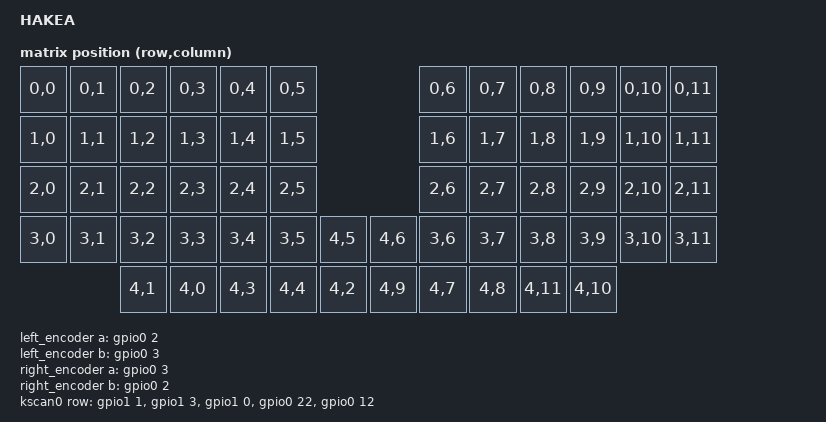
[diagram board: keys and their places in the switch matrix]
/*
 * Copyright (c) 2021 Thys de Wet (vattern)
 *
 * SPDX-License-Identifier: MIT
 */

#include <nordic/nrf52840_qiaa.dtsi>
#include <dt-bindings/zmk/matrix_transform.h>
#include "hakea_pinctrl.dtsi"
/ {
    model = "HAKEA";
    compatible = "hakea";

    chosen {
        zephyr,code-partition = &code_partition;
        zephyr,sram = &sram0;
        zephyr,flash = &flash0;
        zephyr,console = &cdc_acm_uart;
        zephyr,display = &oled;
        zmk,kscan = &kscan0;
        zmk,matrix_transform = &default_transform;

    };

    vbatt {
  		compatible = "zmk,battery-voltage-divider";
  		label = "BATTERY";
  		io-channels = <&adc 2>; // could be adc 1
  		output-ohms = <2000000>;
  		full-ohms = <(2000000 + 806000)>;
  	};

  	left_encoder: encoder_left {
        compatible = "alps,ec11";
        label = "LEFT_ENCODER";
        a-gpios = <&gpio0 2 (GPIO_ACTIVE_HIGH | GPIO_PULL_UP)>;
        b-gpios = <&gpio0 3 (GPIO_ACTIVE_HIGH | GPIO_PULL_UP)>;
        steps = <60>;
        status = "disabled";
    };

    right_encoder: encoder_right {
        compatible = "alps,ec11";
        label = "RIGHT_ENCODER";
        a-gpios = <&gpio0 3 (GPIO_ACTIVE_HIGH | GPIO_PULL_UP)>;
        b-gpios = <&gpio0 2 (GPIO_ACTIVE_HIGH | GPIO_PULL_UP)>;
        steps = <60>;
        status = "disabled";
    };

    sensors {
            compatible = "zmk,keymap-sensors";
            sensors = <&left_encoder &right_encoder>;
            triggers-per-rotation = <30>;
    };


    default_transform: keymap_transform_0 {
        compatible = "zmk,matrix-transform";
        columns = <12>;
        rows = <5>;
// | SW6  | SW5  | SW4  | SW3  | SW2  | SW1  |                 | SW1  | SW2  | SW3  | SW4  | SW5  | SW6  |
// | SW12 | SW11 | SW10 | SW9  | SW8  | SW7  |                 | SW7  | SW8  | SW9  | SW10 | SW11 | SW12 |
// | SW18 | SW17 | SW16 | SW15 | SW14 | SW13 |                 | SW13 | SW14 | SW15 | SW16 | SW17 | SW18 |
// | SW24 | SW23 | SW22 | SW21 | SW20 | SW19 | SW25 |   | SW25 | SW19 | SW20 | SW21 | SW22 | SW23 | SW24 |
//               | SW30 | SW29 | SW28 | SW27 | SW26 |   | SW26 | SW27 | SW28 | SW29 | SW30 |
        map = <
RC(0,0) RC(0,1) RC(0,2) RC(0,3) RC(0,4) RC(0,5)                 RC(0,6) RC(0,7) RC(0,8)  RC(0,9) RC(0,10) RC(0,11)
RC(1,0) RC(1,1) RC(1,2) RC(1,3) RC(1,4) RC(1,5)                 RC(1,6) RC(1,7) RC(1,8)  RC(1,9) RC(1,10) RC(1,11)
RC(2,0) RC(2,1) RC(2,2) RC(2,3) RC(2,4) RC(2,5)                 RC(2,6) RC(2,7) RC(2,8)  RC(2,9) RC(2,10) RC(2,11)
RC(3,0) RC(3,1) RC(3,2) RC(3,3) RC(3,4) RC(3,5) RC(4,5) RC(4,6) RC(3,6) RC(3,7) RC(3,8)  RC(3,9) RC(3,10) RC(3,11)
                RC(4,1) RC(4,0) RC(4,3) RC(4,4) RC(4,2) RC(4,9) RC(4,7) RC(4,8) RC(4,11) RC(4,10)
        >;
    };

    kscan0: kscan {
        compatible = "zmk,kscan-gpio-matrix";
        label = "KSCAN";
	    debounce-press-ms = <8>;
        debounce-release-ms = <8>;
        diode-direction = "col2row";
	
        row-gpios
            = <&gpio1 1 (GPIO_ACTIVE_HIGH | GPIO_PULL_DOWN)>
            , <&gpio1 3  (GPIO_ACTIVE_HIGH | GPIO_PULL_DOWN)>
            , <&gpio1 0  (GPIO_ACTIVE_HIGH | GPIO_PULL_DOWN)>
            , <&gpio0 22  (GPIO_ACTIVE_HIGH | GPIO_PULL_DOWN)>
            , <&gpio0 12  (GPIO_ACTIVE_HIGH | GPIO_PULL_DOWN)>
            ;

    };
};

&gpio0 {
    status = "okay";
};

&gpio1 {
    status = "okay";
};

&adc {
    status = "okay";
};

&usbd {
    status = "okay";
    cdc_acm_uart: cdc_acm_uart {
        compatible = "zephyr,cdc-acm-uart";
        label = "CDC_ACM_0";
    };
};

&pwm0 {
    status = "okay";
};

&i2c0 {
  status = "okay";
	compatible = "nordic,nrf-twi";
	pinctrl-0 = <&i2c0_default>;
    pinctrl-1 = <&i2c0_sleep>;
    pinctrl-names = "default", "sleep";

  oled: ssd1306@3c {
      compatible = "solomon,ssd1306fb";
      reg = <0x3c>;
      label = "DISPLAY";
      width = <128>;
      height = <32>;
      segment-offset = <0>;
      page-offset = <0>;
      display-offset = <0>;
      multiplex-ratio = <31>;
      segment-remap;
      com-invdir;
      com-sequential;
      prechargep = <0x22>;
  };
};



&flash0 {
    /*
     * For more information, see:
     * http://docs.zephyrproject.org/latest/devices/dts/flash_partitions.html
     */
    partitions {
        compatible = "fixed-partitions";
        #address-cells = <1>;
        #size-cells = <1>;

        sd_partition: partition@0 {
            label = "softdevice";
            reg = <0x00000000 0x00026000>;
        };
        code_partition: partition@26000 {
            label = "code_partition";
            reg = <0x00026000 0x000c6000>;
        };

        /*
         * The flash starting at 0x000ec000 and ending at
         * 0x000f3fff is reserved for use by the application.
         */

        /*
         * Storage partition will be used by FCB/LittleFS/NVS
         * if enabled.
         */
        storage_partition: partition@ec000 {
            label = "storage";
            reg = <0x000ec000 0x00008000>;
        };

        boot_partition: partition@f4000 {
            label = "adafruit_boot";
            reg = <0x000f4000 0x0000c000>;
        };
    };
};
